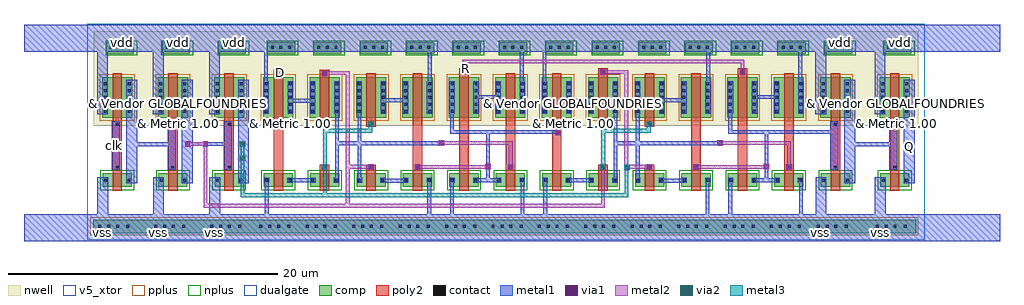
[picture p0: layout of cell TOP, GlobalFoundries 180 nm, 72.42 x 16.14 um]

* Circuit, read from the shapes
.subckt TOP D Q R clk vdd vss
XM1 n1 clk vss vss nfet_05v0 w=1u l=0.7u
XM2 n2 n1 vss vss nfet_05v0 w=1u l=0.7u
XM3 n3 n2 vss vss nfet_05v0 w=1u l=0.7u
XM4 n4 D vss vss nfet_05v0 w=1u l=0.7u
XM5 n5 n3 n4 vss nfet_05v0 w=1u l=0.7u
XM6 n6 n2 n5 vss nfet_05v0 w=1u l=0.7u
XM7 vss n7 n6 vss nfet_05v0 w=1u l=0.7u
XM8 n7 R vss vss nfet_05v0 w=1u l=0.7u
XM9 vss n5 n7 vss nfet_05v0 w=1u l=0.7u
XM10 n8 n7 vss vss nfet_05v0 w=1u l=0.7u
XM11 n9 n2 n8 vss nfet_05v0 w=1u l=0.7u
XM12 n10 n3 n9 vss nfet_05v0 w=1u l=0.7u
XM13 vss n11 n10 vss nfet_05v0 w=1u l=0.7u
XM14 n11 R vss vss nfet_05v0 w=1u l=0.7u
XM15 vss n9 n11 vss nfet_05v0 w=1u l=0.7u
XM16 n12 n11 vss vss nfet_05v0 w=1u l=0.7u
XM17 Q n12 vss vss nfet_05v0 w=1u l=0.7u
XM18 n1 clk vdd vdd pfet_05v0 w=3u l=0.7u
XM19 n2 n1 vdd vdd pfet_05v0 w=3u l=0.7u
XM20 n3 n2 vdd vdd pfet_05v0 w=3u l=0.7u
XM21 n13 D vdd vdd pfet_05v0 w=3u l=0.7u
XM22 n5 n2 n13 vdd pfet_05v0 w=3u l=0.7u
XM23 n14 n3 n5 vdd pfet_05v0 w=3u l=0.7u
XM24 vdd n7 n14 vdd pfet_05v0 w=3u l=0.7u
XM25 n15 R n7 vdd pfet_05v0 w=3u l=0.7u
XM26 vdd n5 n15 vdd pfet_05v0 w=3u l=0.7u
XM27 n16 n7 vdd vdd pfet_05v0 w=3u l=0.7u
XM28 n9 n3 n16 vdd pfet_05v0 w=3u l=0.7u
XM29 n17 n2 n9 vdd pfet_05v0 w=3u l=0.7u
XM30 vdd n11 n17 vdd pfet_05v0 w=3u l=0.7u
XM31 n18 R n11 vdd pfet_05v0 w=3u l=0.7u
XM32 vdd n9 n18 vdd pfet_05v0 w=3u l=0.7u
XM33 n12 n11 vdd vdd pfet_05v0 w=3u l=0.7u
XM34 Q n12 vdd vdd pfet_05v0 w=3u l=0.7u
.ends

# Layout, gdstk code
import gdstk
lib = gdstk.Library(unit=1e-6, precision=1e-08)
def R(c, l, rs):  # rectangles x0, y0, x1, y1
    for r in rs: c.add(gdstk.rectangle(r[:2], r[2:], *l))
def A(c, l, x, y, w, h, nx, ny, dx, dy):  # array of equal rectangles
    R(c, l, [(x+i*dx, y+j*dy, x+i*dx+w, y+j*dy+h) for i in range(nx) for j in range(ny)])
nwell = (21, 0)
comp = (22, 0)
poly2 = (30, 0)
pplus = (31, 0)
nplus = (32, 0)
contact = (33, 0)
metal1 = (34, 0)
via1 = (35, 0)
metal2 = (36, 0)
via2 = (38, 0)
metal3 = (42, 0)
dualgate = (55, 0)
v5_xtor = (112, 1)

top = lib.new_cell('TOP')
A(top, nwell, 23.86, -4.33, 3.46, 7.03, 4, 1, 3.44, 0)
R(top, nwell, [(-1.87,-4.33,9.89,2.7), (-1.87,-4.33,1.59,2.7), (-1.87,-4.33,59.28,2.7), (2.26,-4.33,5.72,2.7), (6.43,-4.33,9.89,2.7), (10.08,-4.33,13.54,2.7), (13.52,-4.33,16.98,2.7), (16.97,-4.33,20.43,2.7), (20.41,-4.33,23.87,2.7), (37.63,-4.33,41.09,2.7), (41.07,-4.33,44.53,2.7), (44.52,-4.33,47.98,2.7), (47.96,-4.33,51.42,2.7), (51.42,-4.33,54.88,2.7), (55.82,-4.33,59.28,2.7)])
A(top, comp, 23.8, -12.28, 3.4, 1, 4, 1, 3.44, 0)
A(top, comp, 24.93, -8.86, 1.32, 1, 4, 1, 3.44, 0)
A(top, comp, 24.93, -3.72, 1.32, 3, 4, 1, 3.44, 0)
A(top, comp, 24.78, 1.03, 2.05, 0.84, 4, 1, 3.44, 0)
R(top, comp, [(-1.93,-12.28,1.47,-11.28), (-1.93,-12.28,59.16,-11.28), (2.2,-12.28,5.6,-11.28), (6.37,-12.28,9.77,-11.28), (10.02,-12.28,13.42,-11.28), (13.46,-12.28,16.86,-11.28), (16.91,-12.28,20.31,-11.28), (20.35,-12.28,23.75,-11.28), (37.57,-12.28,40.97,-11.28), (41.01,-12.28,44.41,-11.28), (44.46,-12.28,47.86,-11.28), (47.9,-12.28,51.3,-11.28), (51.36,-12.28,54.76,-11.28), (55.76,-12.28,59.16,-11.28), (-1.22,-8.86,-0.8,-7.86), (-0.8,-8.86,0.52,-7.86), (0.52,-8.86,0.94,-7.86), (2.91,-8.86,3.33,-7.86), (3.33,-8.86,4.65,-7.86), (4.65,-8.86,5.07,-7.86), (7.08,-8.86,7.5,-7.86), (7.5,-8.86,8.82,-7.86), (8.82,-8.86,9.24,-7.86), (10.73,-8.86,11.15,-7.86), (11.15,-8.86,12.47,-7.86), (12.47,-8.86,12.89,-7.86), (14.17,-8.86,14.59,-7.86), (14.59,-8.86,15.91,-7.86), (15.91,-8.86,16.33,-7.86), (17.62,-8.86,18.04,-7.86), (18.04,-8.86,19.36,-7.86), (19.36,-8.86,19.78,-7.86), (21.06,-8.86,21.48,-7.86), (21.48,-8.86,22.8,-7.86), (22.8,-8.86,23.22,-7.86), (24.51,-8.86,24.93,-7.86), (26.25,-8.86,26.67,-7.86), (27.95,-8.86,28.37,-7.86), (29.69,-8.86,30.11,-7.86), (31.39,-8.86,31.81,-7.86), (33.13,-8.86,33.55,-7.86), (34.83,-8.86,35.25,-7.86), (36.57,-8.86,36.99,-7.86), (38.28,-8.86,38.7,-7.86), (38.7,-8.86,40.02,-7.86), (40.02,-8.86,40.44,-7.86), (41.72,-8.86,42.14,-7.86), (42.14,-8.86,43.46,-7.86), (43.46,-8.86,43.88,-7.86), (45.17,-8.86,45.59,-7.86), (45.59,-8.86,46.91,-7.86), (46.91,-8.86,47.33,-7.86), (48.61,-8.86,49.03,-7.86), (49.03,-8.86,50.35,-7.86), (50.35,-8.86,50.77,-7.86), (52.07,-8.86,52.49,-7.86), (52.49,-8.86,53.81,-7.86), (53.81,-8.86,54.23,-7.86), (56.47,-8.86,56.89,-7.86), (56.89,-8.86,58.21,-7.86), (58.21,-8.86,58.63,-7.86), (-1.26,-3.72,-0.8,-0.72), (-0.8,-3.72,0.52,-0.72), (0.52,-3.72,0.98,-0.72), (2.87,-3.72,3.33,-0.72), (3.33,-3.72,4.65,-0.72), (4.65,-3.72,5.11,-0.72), (7.04,-3.72,7.5,-0.72), (7.5,-3.72,8.82,-0.72), (8.82,-3.72,9.28,-0.72), (10.69,-3.72,11.15,-0.72), (11.15,-3.72,12.47,-0.72), (12.47,-3.72,12.93,-0.72), (14.13,-3.72,14.59,-0.72), (14.59,-3.72,15.91,-0.72), (15.91,-3.72,16.37,-0.72), (17.58,-3.72,18.04,-0.72), (18.04,-3.72,19.36,-0.72), (19.36,-3.72,19.82,-0.72), (21.02,-3.72,21.48,-0.72), (21.48,-3.72,22.8,-0.72), (22.8,-3.72,23.26,-0.72), (24.47,-3.72,24.93,-0.72), (26.25,-3.72,26.71,-0.72), (27.91,-3.72,28.37,-0.72), (29.69,-3.72,30.15,-0.72), (31.35,-3.72,31.81,-0.72), (33.13,-3.72,33.59,-0.72), (34.79,-3.72,35.25,-0.72), (36.57,-3.72,37.03,-0.72), (38.24,-3.72,38.7,-0.72), (38.7,-3.72,40.02,-0.72), (40.02,-3.72,40.48,-0.72), (41.68,-3.72,42.14,-0.72), (42.14,-3.72,43.46,-0.72), (43.46,-3.72,43.92,-0.72), (45.13,-3.72,45.59,-0.72), (45.59,-3.72,46.91,-0.72), (46.91,-3.72,47.37,-0.72), (48.57,-3.72,49.03,-0.72), (49.03,-3.72,50.35,-0.72), (50.35,-3.72,50.81,-0.72), (52.03,-3.72,52.49,-0.72), (52.49,-3.72,53.81,-0.72), (53.81,-3.72,54.27,-0.72), (56.43,-3.72,56.89,-0.72), (56.89,-3.72,58.21,-0.72), (58.21,-3.72,58.67,-0.72), (-0.95,1.03,1.1,1.87), (3.18,1.03,5.23,1.87), (7.35,1.03,9.4,1.87), (11,1.03,13.05,1.87), (14.44,1.03,16.49,1.87), (17.89,1.03,19.94,1.87), (21.33,1.03,23.38,1.87), (38.55,1.03,40.6,1.87), (41.99,1.03,44.04,1.87), (45.44,1.03,47.49,1.87), (48.88,1.03,50.93,1.87), (52.34,1.03,54.39,1.87), (56.74,1.03,58.79,1.87)])
A(top, poly2, 25.24, -9.16, 0.7, 1.6, 4, 1, 3.44, 0)
R(top, poly2, [(-0.49,-9.16,0.21,-7.56), (3.64,-9.16,4.34,-7.56), (7.81,-9.16,8.51,-7.56), (11.46,-9.16,12.16,-7.56), (14.9,-9.16,15.6,-7.56), (18.35,-9.16,19.05,-7.56), (21.79,-9.16,22.49,-7.56), (39.01,-9.16,39.71,-7.56), (42.45,-9.16,43.15,-7.56), (45.9,-9.16,46.6,-7.56), (49.34,-9.16,50.04,-7.56), (52.8,-9.16,53.5,-7.56), (57.2,-9.16,57.9,-7.56), (11.46,-8.04,12.16,-4.02), (32.12,-8.04,32.82,-4.02), (28.68,-7.8,29.38,-4.02), (49.34,-7.8,50.04,-4.02), (-0.49,-7.56,0.21,-7.2), (3.64,-7.56,4.34,-7.2), (7.81,-7.56,8.51,-7.2), (14.9,-7.56,15.6,-7.2), (18.35,-7.56,19.05,-7.2), (21.79,-7.56,22.49,-7.2), (25.24,-7.56,25.94,-7.2), (28.68,-7.56,29.38,-7.2), (35.56,-7.56,36.26,-7.2), (39.01,-7.56,39.71,-7.2), (42.45,-7.56,43.15,-7.2), (45.9,-7.56,46.6,-7.2), (49.34,-7.56,50.04,-7.2), (52.8,-7.56,53.5,-7.2), (57.2,-7.56,57.9,-7.2), (25.24,-7.48,25.94,-4.02), (45.9,-7.48,46.6,-4.02), (21.79,-7.47,22.49,-4.02), (42.45,-7.47,43.15,-4.02), (-0.49,-7.46,0.21,-3.67), (3.64,-7.46,4.34,-3.67), (7.81,-7.46,8.51,-3.67), (52.8,-7.46,53.5,-3.67), (57.2,-7.46,57.9,-3.67), (-0.49,-4.4,0.21,-4.02), (3.64,-4.4,4.34,-4.02), (7.81,-4.4,8.51,-4.02), (18.35,-4.4,19.05,-4.02), (39.01,-4.4,39.71,-4.02), (52.8,-4.4,53.5,-4.02), (57.2,-4.4,57.9,-4.02), (-0.49,-4.02,0.21,-0.42), (3.64,-4.02,4.34,-0.42), (7.81,-4.02,8.51,-0.42), (11.46,-4.02,12.16,-0.16), (14.9,-4.02,15.6,-0.18), (18.35,-4.02,19.05,-0.42), (21.79,-4.02,22.49,-0.42), (25.24,-4.02,25.94,-0.06), (28.68,-4.02,29.38,-0.42), (32.12,-4.02,32.82,-0.42), (35.56,-4.02,36.26,-0.06), (39.01,-4.02,39.71,-0.42), (42.45,-4.02,43.15,-0.42), (45.9,-4.02,46.6,-0.05), (49.34,-4.02,50.04,-0.42), (52.8,-4.02,53.5,-0.42), (57.2,-4.02,57.9,-0.42)])
A(top, pplus, 23.58, -12.45, 3.77, 1.34, 4, 1, 3.44, 0)
A(top, pplus, 24.3, -3.96, 2.58, 3.48, 4, 1, 3.44, 0)
R(top, pplus, [(-2.15,-12.45,1.62,-11.11), (-2.15,-12.45,59.31,-11.11), (0.28,-12.45,9.13,-11.11), (1.98,-12.45,5.75,-11.11), (6.15,-12.45,9.92,-11.11), (9.8,-12.45,13.57,-11.11), (13.24,-12.45,17.01,-11.11), (16.69,-12.45,20.46,-11.11), (20.13,-12.45,23.9,-11.11), (37.35,-12.45,41.12,-11.11), (40.79,-12.45,44.56,-11.11), (44.24,-12.45,48.01,-11.11), (47.68,-12.45,51.45,-11.11), (51.14,-12.45,54.91,-11.11), (55.54,-12.45,59.31,-11.11), (-1.43,-3.96,1.15,-0.48), (2.7,-3.96,5.28,-0.48), (6.87,-3.96,9.45,-0.48), (10.52,-3.96,13.1,-0.48), (13.96,-3.96,16.54,-0.48), (17.41,-3.96,19.99,-0.48), (20.85,-3.96,23.43,-0.48), (38.07,-3.96,40.65,-0.48), (41.51,-3.96,44.09,-0.48), (44.96,-3.96,47.54,-0.48), (48.4,-3.96,50.98,-0.48), (51.86,-3.96,54.44,-0.48), (56.26,-3.96,58.84,-0.48)])
A(top, nplus, 24.34, -9.1, 2.5, 1.48, 4, 1, 3.44, 0)
A(top, nplus, 24.73, 0.92, 2.35, 1.06, 4, 1, 3.44, 0)
R(top, nplus, [(-1.39,-9.1,1.11,-7.62), (2.74,-9.1,5.24,-7.62), (6.91,-9.1,9.41,-7.62), (10.56,-9.1,13.06,-7.62), (14,-9.1,16.5,-7.62), (17.45,-9.1,19.95,-7.62), (20.89,-9.1,23.39,-7.62), (38.11,-9.1,40.61,-7.62), (41.55,-9.1,44.05,-7.62), (45,-9.1,47.5,-7.62), (48.44,-9.1,50.94,-7.62), (51.9,-9.1,54.4,-7.62), (56.3,-9.1,58.8,-7.62), (-1,0.92,1.35,1.98), (3.13,0.92,5.48,1.98), (7.3,0.92,9.65,1.98), (10.95,0.92,13.3,1.98), (14.39,0.92,16.74,1.98), (17.84,0.92,20.19,1.98), (21.28,0.92,23.63,1.98), (38.5,0.92,40.85,1.98), (41.94,0.92,44.29,1.98), (45.39,0.92,47.74,1.98), (48.83,0.92,51.18,1.98), (52.29,0.92,54.64,1.98), (56.69,0.92,59.04,1.98)])
A(top, contact, -1.14, -3.35, 0.22, 0.22, 1, 5, 0, 0.51)
A(top, contact, 0.64, -3.35, 0.22, 0.22, 1, 5, 0, 0.51)
A(top, contact, 2.99, -3.35, 0.22, 0.22, 1, 5, 0, 0.51)
A(top, contact, 4.77, -3.35, 0.22, 0.22, 1, 5, 0, 0.51)
A(top, contact, 7.16, -3.35, 0.22, 0.22, 1, 5, 0, 0.51)
A(top, contact, 8.94, -3.35, 0.22, 0.22, 1, 5, 0, 0.51)
A(top, contact, 10.81, -3.35, 0.22, 0.22, 1, 5, 0, 0.51)
A(top, contact, 12.59, -3.35, 0.22, 0.22, 1, 5, 0, 0.51)
A(top, contact, 14.25, -3.35, 0.22, 0.22, 1, 5, 0, 0.51)
A(top, contact, 16.03, -3.35, 0.22, 0.22, 1, 5, 0, 0.51)
A(top, contact, 17.7, -3.35, 0.22, 0.22, 1, 5, 0, 0.51)
A(top, contact, 19.48, -3.35, 0.22, 0.22, 1, 5, 0, 0.51)
A(top, contact, 21.14, -3.35, 0.22, 0.22, 1, 5, 0, 0.51)
A(top, contact, 22.92, -3.35, 0.22, 0.22, 1, 5, 0, 0.51)
A(top, contact, 24.59, -3.35, 0.22, 0.22, 1, 5, 0, 0.51)
A(top, contact, 26.37, -3.35, 0.22, 0.22, 1, 5, 0, 0.51)
A(top, contact, 28.03, -3.35, 0.22, 0.22, 1, 5, 0, 0.51)
A(top, contact, 29.81, -3.35, 0.22, 0.22, 1, 5, 0, 0.51)
A(top, contact, 31.47, -3.35, 0.22, 0.22, 1, 5, 0, 0.51)
A(top, contact, 33.25, -3.35, 0.22, 0.22, 1, 5, 0, 0.51)
A(top, contact, 34.91, -3.35, 0.22, 0.22, 1, 5, 0, 0.51)
A(top, contact, 36.69, -3.35, 0.22, 0.22, 1, 5, 0, 0.51)
A(top, contact, 38.36, -3.35, 0.22, 0.22, 1, 5, 0, 0.51)
A(top, contact, 40.14, -3.35, 0.22, 0.22, 1, 5, 0, 0.51)
A(top, contact, 41.8, -3.35, 0.22, 0.22, 1, 5, 0, 0.51)
A(top, contact, 43.58, -3.35, 0.22, 0.22, 1, 5, 0, 0.51)
A(top, contact, 45.25, -3.35, 0.22, 0.22, 1, 5, 0, 0.51)
A(top, contact, 47.03, -3.35, 0.22, 0.22, 1, 5, 0, 0.51)
A(top, contact, 48.69, -3.35, 0.22, 0.22, 1, 5, 0, 0.51)
A(top, contact, 50.47, -3.35, 0.22, 0.22, 1, 5, 0, 0.51)
A(top, contact, 52.15, -3.35, 0.22, 0.22, 1, 5, 0, 0.51)
A(top, contact, 53.93, -3.35, 0.22, 0.22, 1, 5, 0, 0.51)
A(top, contact, 56.55, -3.35, 0.22, 0.22, 1, 5, 0, 0.51)
A(top, contact, 58.33, -3.35, 0.22, 0.22, 1, 5, 0, 0.51)
R(top, contact, [(-1.54,-11.89,-1.32,-11.67), (-0.87,-11.89,-0.65,-11.67), (-0.87,-11.89,-0.65,-11.67), (-0.23,-11.89,-0.01,-11.67), (0.54,-11.89,0.76,-11.67), (2.59,-11.89,2.81,-11.67), (3.26,-11.89,3.48,-11.67), (3.26,-11.89,3.48,-11.67), (3.9,-11.89,4.12,-11.67), (4.67,-11.89,4.89,-11.67), (6.76,-11.89,6.98,-11.67), (7.43,-11.89,7.65,-11.67), (7.43,-11.89,7.65,-11.67), (8.07,-11.89,8.29,-11.67), (8.84,-11.89,9.06,-11.67), (10.41,-11.89,10.63,-11.67), (11.08,-11.89,11.3,-11.67), (11.08,-11.89,11.3,-11.67), (11.72,-11.89,11.94,-11.67), (12.49,-11.89,12.71,-11.67), (13.85,-11.89,14.07,-11.67), (14.52,-11.89,14.74,-11.67), (14.52,-11.89,14.74,-11.67), (15.16,-11.89,15.38,-11.67), (15.93,-11.89,16.15,-11.67), (17.3,-11.89,17.52,-11.67), (17.97,-11.89,18.19,-11.67), (17.97,-11.89,18.19,-11.67), (18.61,-11.89,18.83,-11.67), (19.38,-11.89,19.6,-11.67), (20.74,-11.89,20.96,-11.67), (21.41,-11.89,21.63,-11.67), (21.41,-11.89,21.63,-11.67), (22.05,-11.89,22.27,-11.67), (22.82,-11.89,23.04,-11.67), (24.19,-11.89,24.41,-11.67), (24.86,-11.89,25.08,-11.67), (24.86,-11.89,25.08,-11.67), (25.5,-11.89,25.72,-11.67), (26.27,-11.89,26.49,-11.67), (27.63,-11.89,27.85,-11.67), (28.3,-11.89,28.52,-11.67), (28.3,-11.89,28.52,-11.67), (28.94,-11.89,29.16,-11.67), (29.71,-11.89,29.93,-11.67), (31.07,-11.89,31.29,-11.67), (31.74,-11.89,31.96,-11.67), (31.74,-11.89,31.96,-11.67), (32.38,-11.89,32.6,-11.67), (33.15,-11.89,33.37,-11.67), (34.51,-11.89,34.73,-11.67), (35.18,-11.89,35.4,-11.67), (35.18,-11.89,35.4,-11.67), (35.82,-11.89,36.04,-11.67), (36.59,-11.89,36.81,-11.67), (37.96,-11.89,38.18,-11.67), (38.63,-11.89,38.85,-11.67), (38.63,-11.89,38.85,-11.67), (39.27,-11.89,39.49,-11.67), (40.04,-11.89,40.26,-11.67), (41.4,-11.89,41.62,-11.67), (42.07,-11.89,42.29,-11.67), (42.07,-11.89,42.29,-11.67), (42.71,-11.89,42.93,-11.67), (43.48,-11.89,43.7,-11.67), (44.85,-11.89,45.07,-11.67), (45.52,-11.89,45.74,-11.67), (45.52,-11.89,45.74,-11.67), (46.16,-11.89,46.38,-11.67), (46.93,-11.89,47.15,-11.67), (48.29,-11.89,48.51,-11.67), (48.96,-11.89,49.18,-11.67), (48.96,-11.89,49.18,-11.67), (49.6,-11.89,49.82,-11.67), (50.37,-11.89,50.59,-11.67), (51.75,-11.89,51.97,-11.67), (52.42,-11.89,52.64,-11.67), (52.42,-11.89,52.64,-11.67), (53.06,-11.89,53.28,-11.67), (53.83,-11.89,54.05,-11.67), (56.15,-11.89,56.37,-11.67), (56.82,-11.89,57.04,-11.67), (56.82,-11.89,57.04,-11.67), (57.46,-11.89,57.68,-11.67), (58.23,-11.89,58.45,-11.67), (-1.12,-8.47,-0.9,-8.25), (0.62,-8.47,0.84,-8.25), (3.01,-8.47,3.23,-8.25), (4.75,-8.47,4.97,-8.25), (7.18,-8.47,7.4,-8.25), (8.92,-8.47,9.14,-8.25), (10.83,-8.47,11.05,-8.25), (12.57,-8.47,12.79,-8.25), (14.27,-8.47,14.49,-8.25), (16.01,-8.47,16.23,-8.25), (17.72,-8.47,17.94,-8.25), (19.46,-8.47,19.68,-8.25), (21.16,-8.47,21.38,-8.25), (22.9,-8.47,23.12,-8.25), (24.61,-8.47,24.83,-8.25), (26.35,-8.47,26.57,-8.25), (28.05,-8.47,28.27,-8.25), (29.79,-8.47,30.01,-8.25), (31.49,-8.47,31.71,-8.25), (33.23,-8.47,33.45,-8.25), (34.93,-8.47,35.15,-8.25), (36.67,-8.47,36.89,-8.25), (38.38,-8.47,38.6,-8.25), (40.12,-8.47,40.34,-8.25), (41.82,-8.47,42.04,-8.25), (43.56,-8.47,43.78,-8.25), (45.27,-8.47,45.49,-8.25), (47.01,-8.47,47.23,-8.25), (48.71,-8.47,48.93,-8.25), (50.45,-8.47,50.67,-8.25), (52.17,-8.47,52.39,-8.25), (53.91,-8.47,54.13,-8.25), (56.57,-8.47,56.79,-8.25), (58.31,-8.47,58.53,-8.25), (-0.25,-7.49,-0.03,-7.27), (3.88,-7.49,4.1,-7.27), (8.05,-7.49,8.27,-7.27), (15.14,-7.49,15.36,-7.27), (18.59,-7.49,18.81,-7.27), (22.03,-7.49,22.25,-7.27), (28.92,-7.49,29.14,-7.27), (35.8,-7.49,36.02,-7.27), (39.25,-7.49,39.47,-7.27), (42.69,-7.49,42.91,-7.27), (49.58,-7.49,49.8,-7.27), (53.04,-7.49,53.26,-7.27), (57.44,-7.49,57.66,-7.27), (32.45,-4.93,32.67,-4.71), (-0.25,-4.32,-0.03,-4.1), (3.88,-4.32,4.1,-4.1), (8.05,-4.32,8.27,-4.1), (18.59,-4.32,18.81,-4.1), (39.25,-4.32,39.47,-4.1), (53.04,-4.32,53.26,-4.1), (57.44,-4.32,57.66,-4.1), (15.14,-0.54,15.36,-0.32), (11.7,-0.48,11.92,-0.26), (46.14,-0.44,46.36,-0.22), (35.8,-0.43,36.02,-0.21), (25.48,-0.42,25.7,-0.2), (-0.68,1.38,-0.46,1.6), (-0.06,1.38,0.16,1.6), (0.59,1.38,0.81,1.6), (3.45,1.38,3.67,1.6), (4.07,1.38,4.29,1.6), (4.72,1.38,4.94,1.6), (7.62,1.38,7.84,1.6), (8.24,1.38,8.46,1.6), (8.89,1.38,9.11,1.6), (11.27,1.38,11.49,1.6), (11.89,1.38,12.11,1.6), (12.54,1.38,12.76,1.6), (14.71,1.38,14.93,1.6), (15.33,1.38,15.55,1.6), (15.98,1.38,16.2,1.6), (18.16,1.38,18.38,1.6), (18.78,1.38,19,1.6), (19.43,1.38,19.65,1.6), (21.6,1.38,21.82,1.6), (22.22,1.38,22.44,1.6), (22.87,1.38,23.09,1.6), (25.05,1.38,25.27,1.6), (25.67,1.38,25.89,1.6), (26.32,1.38,26.54,1.6), (28.49,1.38,28.71,1.6), (29.11,1.38,29.33,1.6), (29.76,1.38,29.98,1.6), (31.93,1.38,32.15,1.6), (32.55,1.38,32.77,1.6), (33.2,1.38,33.42,1.6), (35.37,1.38,35.59,1.6), (35.99,1.38,36.21,1.6), (36.64,1.38,36.86,1.6), (38.82,1.38,39.04,1.6), (39.44,1.38,39.66,1.6), (40.09,1.38,40.31,1.6), (42.26,1.38,42.48,1.6), (42.88,1.38,43.1,1.6), (43.53,1.38,43.75,1.6), (45.71,1.38,45.93,1.6), (46.33,1.38,46.55,1.6), (46.98,1.38,47.2,1.6), (49.15,1.38,49.37,1.6), (49.77,1.38,49.99,1.6), (50.42,1.38,50.64,1.6), (52.61,1.38,52.83,1.6), (53.23,1.38,53.45,1.6), (53.88,1.38,54.1,1.6), (57.01,1.38,57.23,1.6), (57.63,1.38,57.85,1.6), (58.28,1.38,58.5,1.6)])
A(top, metal1, 24.11, -11.97, 0.38, 0.38, 4, 1, 3.44, 0)
R(top, metal1, [(-1.62,-11.97,-1.24,-11.59), (2.51,-11.97,2.89,-11.59), (6.68,-11.97,7.06,-11.59), (10.33,-11.97,10.71,-11.59), (13.77,-11.97,14.15,-11.59), (17.22,-11.97,17.6,-11.59), (20.66,-11.97,21.04,-11.59), (37.88,-11.97,38.26,-11.59), (41.32,-11.97,41.7,-11.59), (44.77,-11.97,45.15,-11.59), (48.21,-11.97,48.59,-11.59), (51.67,-11.97,52.05,-11.59), (56.07,-11.97,56.45,-11.59), (-1.2,-8.55,-0.82,-8.17), (0.54,-8.55,0.92,-8.17), (2.93,-8.55,3.31,-8.17), (4.67,-8.55,5.05,-8.17), (7.1,-8.55,7.48,-8.17), (8.84,-8.55,9.22,-8.17), (10.75,-8.55,11.13,-8.17), (12.49,-8.55,12.87,-8.17), (14.19,-8.55,14.57,-8.17), (15.93,-8.55,16.31,-8.17), (17.64,-8.55,18.02,-8.17), (19.38,-8.55,19.76,-8.17), (21.08,-8.55,21.46,-8.17), (22.82,-8.55,23.2,-8.17), (24.53,-8.55,24.91,-8.17), (26.27,-8.55,26.65,-8.17), (27.97,-8.55,28.35,-8.17), (29.71,-8.55,30.09,-8.17), (31.41,-8.55,31.79,-8.17), (33.15,-8.55,33.53,-8.17), (34.85,-8.55,35.23,-8.17), (36.59,-8.55,36.97,-8.17), (38.3,-8.55,38.68,-8.17), (40.04,-8.55,40.42,-8.17), (41.74,-8.55,42.12,-8.17), (43.48,-8.55,43.86,-8.17), (45.19,-8.55,45.57,-8.17), (46.93,-8.55,47.31,-8.17), (48.63,-8.55,49.01,-8.17), (50.37,-8.55,50.75,-8.17), (52.09,-8.55,52.47,-8.17), (53.83,-8.55,54.21,-8.17), (56.49,-8.55,56.87,-8.17), (58.23,-8.55,58.61,-8.17), (15.05,-7.58,15.45,-7.18), (18.5,-7.58,18.9,-7.18), (21.94,-7.58,22.34,-7.18), (28.83,-7.58,29.23,-7.18), (35.71,-7.58,36.11,-7.18), (39.16,-7.58,39.56,-7.18), (42.6,-7.58,43,-7.18), (49.49,-7.58,49.89,-7.18), (-0.33,-7.57,0.05,-7.19), (3.8,-7.57,4.18,-7.19), (7.97,-7.57,8.35,-7.19), (15.06,-7.57,15.44,-7.19), (18.51,-7.57,18.89,-7.19), (21.95,-7.57,22.33,-7.19), (28.84,-7.57,29.22,-7.19), (35.72,-7.57,36.1,-7.19), (39.17,-7.57,39.55,-7.19), (42.61,-7.57,42.99,-7.19), (49.5,-7.57,49.88,-7.19), (52.96,-7.57,53.34,-7.19), (57.36,-7.57,57.74,-7.19), (27.17,-7.53,27.57,-7.13), (47.83,-7.53,48.23,-7.13), (8.96,-6.93,9.36,-6.53), (4.91,-5.86,5.31,-5.46), (6.19,-5.86,6.59,-5.46), (8.96,-5.86,9.36,-5.46), (23.71,-5.8,24.11,-5.4), (44.37,-5.8,44.77,-5.4), (32.36,-5.02,32.76,-4.62), (32.37,-5.01,32.75,-4.63), (18.5,-4.41,18.9,-4.01), (39.16,-4.41,39.56,-4.01), (-0.33,-4.4,0.05,-4.02), (3.8,-4.4,4.18,-4.02), (7.97,-4.4,8.35,-4.02), (18.51,-4.4,18.89,-4.02), (39.17,-4.4,39.55,-4.02), (52.96,-4.4,53.34,-4.02), (57.36,-4.4,57.74,-4.02), (-1.22,-3.43,-0.84,-1.01), (0.56,-3.43,0.94,-1.01), (2.91,-3.43,3.29,-1.01), (4.69,-3.43,5.07,-1.01), (7.08,-3.43,7.46,-1.01), (8.86,-3.43,9.24,-1.01), (10.73,-3.43,11.11,-1.01), (12.51,-3.43,12.89,-1.01), (14.17,-3.43,14.55,-1.01), (15.95,-3.43,16.33,-1.01), (17.62,-3.43,18,-1.01), (19.4,-3.43,19.78,-1.01), (21.06,-3.43,21.44,-1.01), (22.84,-3.43,23.22,-1.01), (24.51,-3.43,24.89,-1.01), (26.29,-3.43,26.67,-1.01), (27.95,-3.43,28.33,-1.01), (29.73,-3.43,30.11,-1.01), (31.39,-3.43,31.77,-1.01), (33.17,-3.43,33.55,-1.01), (34.83,-3.43,35.21,-1.01), (36.61,-3.43,36.99,-1.01), (38.28,-3.43,38.66,-1.01), (40.06,-3.43,40.44,-1.01), (41.72,-3.43,42.1,-1.01), (43.5,-3.43,43.88,-1.01), (45.17,-3.43,45.55,-1.01), (46.95,-3.43,47.33,-1.01), (48.61,-3.43,48.99,-1.01), (50.39,-3.43,50.77,-1.01), (52.07,-3.43,52.45,-1.01), (53.85,-3.43,54.23,-1.01), (56.47,-3.43,56.85,-1.01), (58.25,-3.43,58.63,-1.01), (15.05,-0.63,15.45,-0.23), (15.06,-0.62,15.44,-0.24), (11.61,-0.57,12.01,-0.17), (11.62,-0.56,12,-0.18), (46.05,-0.53,46.45,-0.13), (35.71,-0.52,36.11,-0.12), (46.06,-0.52,46.44,-0.14), (25.39,-0.51,25.79,-0.11), (35.72,-0.51,36.1,-0.13), (25.4,-0.5,25.78,-0.12)])
R(top, via1, [(15.12,-7.51,15.38,-7.25), (18.57,-7.51,18.83,-7.25), (22.01,-7.51,22.27,-7.25), (28.9,-7.51,29.16,-7.25), (35.78,-7.51,36.04,-7.25), (39.23,-7.51,39.49,-7.25), (42.67,-7.51,42.93,-7.25), (49.56,-7.51,49.82,-7.25), (27.24,-7.46,27.5,-7.2), (47.9,-7.46,48.16,-7.2), (9.03,-6.86,9.29,-6.6), (4.98,-5.79,5.24,-5.53), (6.26,-5.79,6.52,-5.53), (9.03,-5.79,9.29,-5.53), (23.78,-5.73,24.04,-5.47), (44.44,-5.73,44.7,-5.47), (32.43,-4.95,32.69,-4.69), (18.57,-4.34,18.83,-4.08), (39.23,-4.34,39.49,-4.08), (15.12,-0.56,15.38,-0.3), (11.68,-0.5,11.94,-0.24), (46.12,-0.46,46.38,-0.2), (35.78,-0.45,36.04,-0.19), (25.46,-0.44,25.72,-0.18)])
R(top, metal2, [(37.48,-7.63,37.88,-7.23), (15.05,-7.58,15.45,-7.18), (18.5,-7.58,18.9,-7.18), (21.94,-7.58,22.34,-7.18), (28.83,-7.58,29.23,-7.18), (35.71,-7.58,36.11,-7.18), (39.16,-7.58,39.56,-7.18), (42.6,-7.58,43,-7.18), (49.49,-7.58,49.89,-7.18), (27.17,-7.53,27.57,-7.13), (47.83,-7.53,48.23,-7.13), (8.96,-6.93,9.36,-6.53), (4.91,-5.86,5.31,-5.46), (6.19,-5.86,6.59,-5.46), (8.96,-5.86,9.36,-5.46), (23.71,-5.8,24.11,-5.4), (44.37,-5.8,44.77,-5.4), (32.36,-5.02,32.76,-4.62), (18.5,-4.41,18.9,-4.01), (39.16,-4.41,39.56,-4.01), (15.05,-0.63,15.45,-0.23), (11.61,-0.57,12.01,-0.17), (46.05,-0.53,46.45,-0.13), (35.71,-0.52,36.11,-0.12), (25.39,-0.51,25.79,-0.11)])
R(top, via2, [(37.55,-7.56,37.81,-7.3), (15.12,-7.51,15.38,-7.25), (35.78,-7.51,36.04,-7.25), (9.03,-6.86,9.29,-6.6), (9.03,-5.79,9.29,-5.53), (18.57,-4.34,18.83,-4.08), (39.23,-4.34,39.49,-4.08)])
R(top, metal3, [(37.48,-7.63,37.88,-7.23), (15.05,-7.58,15.45,-7.18), (35.71,-7.58,36.11,-7.18), (8.96,-6.93,9.36,-6.53), (8.96,-5.86,9.36,-5.46), (18.5,-4.41,18.9,-4.01), (39.16,-4.41,39.56,-4.01)])
R(top, dualgate, [(-2.37,-12.76,2.09,3.25), (1.76,-12.76,6.22,3.25), (5.93,-12.76,59.58,3.25), (50.92,-12.76,55.38,3.25), (55.32,-12.76,59.78,3.25), (-1.64,-9.57,1.36,-6.78), (2.49,-9.57,5.49,-6.78), (6.66,-9.57,9.66,-6.78), (51.65,-9.57,54.65,-6.78), (56.05,-9.57,59.05,-6.78), (-1.68,-4.81,1.4,-0.01), (2.45,-4.81,5.53,-0.01), (6.62,-4.81,9.7,-0.01), (51.61,-4.81,54.69,-0.01), (56.01,-4.81,59.09,-0.01)])
R(top, v5_xtor, [(-2.37,-12.77,2.09,3.25), (1.76,-12.77,6.22,3.25), (5.93,-12.77,58.05,3.25), (50.92,-12.77,55.38,3.25), (55.32,-12.77,59.78,3.25), (-1.64,-9.57,1.36,-6.78), (2.49,-9.57,5.49,-6.78), (6.66,-9.57,9.66,-6.78), (51.65,-9.57,54.65,-6.78), (56.05,-9.57,59.05,-6.78), (-1.68,-4.81,1.4,-0.01), (2.45,-4.81,5.53,-0.01), (6.62,-4.81,9.7,-0.01), (51.61,-4.81,54.69,-0.01), (56.01,-4.81,59.09,-0.01)])
top.add(gdstk.FlexPath([(4.89,2.16),(52.31,2.16)], 2, ends="flush", simple_path=True, layer=34, datatype=0))  # metal1
top.add(gdstk.FlexPath([(4.89,-11.89),(51.92,-11.89)], 2, ends="flush", simple_path=True, layer=34, datatype=0))  # metal1
top.add(gdstk.FlexPath([(10.9,-1.16),(10.9,1.81)], 0.28, ends="flush", simple_path=True, layer=34, datatype=0))  # metal1
top.add(gdstk.FlexPath([(10.96,-8.35),(10.96,-11.58)], 0.28, ends="flush", simple_path=True, layer=34, datatype=0))  # metal1
top.add(gdstk.FlexPath([(12.75,-8.37),(14.49,-8.37),(14.49,-8.37),(14.49,-8.37)], 0.28, ends="flush", simple_path=True, layer=34, datatype=0))  # metal1
top.add(gdstk.FlexPath([(12.86,-2.46),(14.36,-2.46)], 0.28, ends="flush", simple_path=True, layer=34, datatype=0))  # metal1
top.add(gdstk.FlexPath([(16.17,-3.18),(16.17,-8.36)], 0.28, ends="flush", simple_path=True, layer=34, datatype=0))  # metal1
top.add(gdstk.FlexPath([(17.83,-8.3),(17.83,-3.12)], 0.28, ends="flush", simple_path=True, layer=34, datatype=0))  # metal1
top.add(gdstk.FlexPath([(19.61,-2.42),(21.3,-2.42)], 0.28, ends="flush", simple_path=True, layer=34, datatype=0))  # metal1
top.add(gdstk.FlexPath([(19.59,-8.4),(21.2,-8.4)], 0.28, ends="flush", simple_path=True, layer=34, datatype=0))  # metal1
top.add(gdstk.FlexPath([(23.05,-1.2),(23.05,1.43)], 0.28, ends="flush", simple_path=True, layer=34, datatype=0))  # metal1
top.add(gdstk.FlexPath([(23,-8.38),(23,-11.4)], 0.28, ends="flush", simple_path=True, layer=34, datatype=0))  # metal1
top.add(gdstk.FlexPath([(23.85,-5.62),(16.17,-5.62)], 0.28, ends="flush", simple_path=True, layer=34, datatype=0))  # metal1
top.add(gdstk.FlexPath([(24.69,-8.43),(24.69,-11.4)], 0.28, ends="flush", simple_path=True, layer=34, datatype=0))  # metal1
top.add(gdstk.FlexPath([(26.5,-8.36),(28.12,-8.36)], 0.28, ends="flush", simple_path=True, layer=34, datatype=0))  # metal1
top.add(gdstk.FlexPath([(27.37,-8.33),(27.37,-4.78),(24.69,-4.78),(24.69,-3.16)], 0.28, ends="flush", simple_path=True, layer=34, datatype=0))  # metal1
top.add(gdstk.FlexPath([(26.44,-2.18),(28.11,-2.18)], 0.28, ends="flush", simple_path=True, layer=34, datatype=0))  # metal1
top.add(gdstk.FlexPath([(29.88,-1.2),(29.88,1.51)], 0.28, ends="flush", simple_path=True, layer=34, datatype=0))  # metal1
top.add(gdstk.FlexPath([(29.93,-8.39),(29.93,-11.5)], 0.28, ends="flush", simple_path=True, layer=34, datatype=0))  # metal1
top.add(gdstk.FlexPath([(31.56,-1.16),(31.56,1.81)], 0.28, ends="flush", simple_path=True, layer=34, datatype=0))  # metal1
top.add(gdstk.FlexPath([(31.62,-8.35),(31.62,-11.58)], 0.28, ends="flush", simple_path=True, layer=34, datatype=0))  # metal1
top.add(gdstk.FlexPath([(33.41,-8.37),(35.15,-8.37),(35.15,-8.37),(35.15,-8.37)], 0.28, ends="flush", simple_path=True, layer=34, datatype=0))  # metal1
top.add(gdstk.FlexPath([(33.52,-2.46),(35.02,-2.46)], 0.28, ends="flush", simple_path=True, layer=34, datatype=0))  # metal1
top.add(gdstk.FlexPath([(36.83,-3.18),(36.83,-8.36)], 0.28, ends="flush", simple_path=True, layer=34, datatype=0))  # metal1
top.add(gdstk.FlexPath([(38.49,-8.3),(38.49,-3.12)], 0.28, ends="flush", simple_path=True, layer=34, datatype=0))  # metal1
top.add(gdstk.FlexPath([(40.27,-2.42),(41.96,-2.42)], 0.28, ends="flush", simple_path=True, layer=34, datatype=0))  # metal1
top.add(gdstk.FlexPath([(40.25,-8.4),(41.86,-8.4)], 0.28, ends="flush", simple_path=True, layer=34, datatype=0))  # metal1
top.add(gdstk.FlexPath([(43.71,-1.2),(43.71,1.43)], 0.28, ends="flush", simple_path=True, layer=34, datatype=0))  # metal1
top.add(gdstk.FlexPath([(43.66,-8.38),(43.66,-11.4)], 0.28, ends="flush", simple_path=True, layer=34, datatype=0))  # metal1
top.add(gdstk.FlexPath([(44.51,-5.62),(36.83,-5.62)], 0.28, ends="flush", simple_path=True, layer=34, datatype=0))  # metal1
top.add(gdstk.FlexPath([(45.35,-8.43),(45.35,-11.4)], 0.28, ends="flush", simple_path=True, layer=34, datatype=0))  # metal1
top.add(gdstk.FlexPath([(47.16,-8.36),(48.78,-8.36)], 0.28, ends="flush", simple_path=True, layer=34, datatype=0))  # metal1
top.add(gdstk.FlexPath([(48.03,-8.33),(48.03,-4.78),(45.35,-4.78),(45.35,-3.16)], 0.28, ends="flush", simple_path=True, layer=34, datatype=0))  # metal1
top.add(gdstk.FlexPath([(47.1,-2.18),(48.77,-2.18)], 0.28, ends="flush", simple_path=True, layer=34, datatype=0))  # metal1
top.add(gdstk.FlexPath([(50.54,-1.2),(50.54,1.51)], 0.28, ends="flush", simple_path=True, layer=34, datatype=0))  # metal1
top.add(gdstk.FlexPath([(50.59,-8.39),(50.59,-11.5)], 0.28, ends="flush", simple_path=True, layer=34, datatype=0))  # metal1
top.add(gdstk.FlexPath([(0.79,-5.7),(3.82,-5.7)], 0.28, ends="flush", simple_path=True, layer=34, datatype=0))  # metal1
top.add(gdstk.FlexPath([(5,-5.68),(8.1,-5.68)], 0.28, ends="flush", simple_path=True, layer=34, datatype=0))  # metal1
top.add(gdstk.FlexPath([(27.04,-4.78),(32.48,-4.78)], 0.28, ends="flush", simple_path=True, layer=34, datatype=0))  # metal1
top.add(gdstk.FlexPath([(54.29,-5.7),(57.47,-5.7),(57.47,-5.58),(57.47,-5.58)], 0.28, ends="flush", simple_path=True, layer=34, datatype=0))  # metal1
top.add(gdstk.FlexPath([(47.93,-4.78),(53.08,-4.78)], 0.28, ends="flush", simple_path=True, layer=34, datatype=0))  # metal1
top.add(gdstk.FlexPath([(-7.06,2.16),(7.67,2.16)], 2, ends="flush", simple_path=True, layer=34, datatype=0))  # metal1
top.add(gdstk.FlexPath([(-7.06,-11.89),(7.67,-11.89)], 2, ends="flush", simple_path=True, layer=34, datatype=0))  # metal1
top.add(gdstk.FlexPath([(-1.21,-8.15),(-1.21,-11.06)], 0.8, ends="flush", simple_path=True, layer=34, datatype=0))  # metal1
top.add(gdstk.FlexPath([(-1.23,-3.45),(-1.23,1.57)], 0.8, ends="flush", simple_path=True, layer=34, datatype=0))  # metal1
top.add(gdstk.FlexPath([(0.93,-0.89),(0.93,-8.59)], 0.8, ends="flush", simple_path=True, layer=34, datatype=0))  # metal1
top.add(gdstk.FlexPath([(-0.24,-7.6),(-0.24,-3.97)], 0.6, ends="flush", simple_path=True, layer=34, datatype=0))  # metal1
top.add(gdstk.FlexPath([(-2.93,2.16),(11.8,2.16)], 2, ends="flush", simple_path=True, layer=34, datatype=0))  # metal1
top.add(gdstk.FlexPath([(-2.93,-11.89),(11.8,-11.89)], 2, ends="flush", simple_path=True, layer=34, datatype=0))  # metal1
top.add(gdstk.FlexPath([(2.92,-8.15),(2.92,-11.06)], 0.8, ends="flush", simple_path=True, layer=34, datatype=0))  # metal1
top.add(gdstk.FlexPath([(2.9,-3.45),(2.9,1.57)], 0.8, ends="flush", simple_path=True, layer=34, datatype=0))  # metal1
top.add(gdstk.FlexPath([(5.06,-0.89),(5.06,-8.59)], 0.8, ends="flush", simple_path=True, layer=34, datatype=0))  # metal1
top.add(gdstk.FlexPath([(3.89,-7.6),(3.89,-3.97)], 0.6, ends="flush", simple_path=True, layer=34, datatype=0))  # metal1
top.add(gdstk.FlexPath([(1.24,2.16),(15.97,2.16)], 2, ends="flush", simple_path=True, layer=34, datatype=0))  # metal1
top.add(gdstk.FlexPath([(1.24,-11.89),(15.97,-11.89)], 2, ends="flush", simple_path=True, layer=34, datatype=0))  # metal1
top.add(gdstk.FlexPath([(7.09,-8.15),(7.09,-11.06)], 0.8, ends="flush", simple_path=True, layer=34, datatype=0))  # metal1
top.add(gdstk.FlexPath([(7.07,-3.45),(7.07,1.57)], 0.8, ends="flush", simple_path=True, layer=34, datatype=0))  # metal1
top.add(gdstk.FlexPath([(9.23,-0.89),(9.23,-8.59)], 0.8, ends="flush", simple_path=True, layer=34, datatype=0))  # metal1
top.add(gdstk.FlexPath([(8.06,-7.6),(8.06,-3.97)], 0.6, ends="flush", simple_path=True, layer=34, datatype=0))  # metal1
top.add(gdstk.FlexPath([(46.23,2.16),(60.96,2.16)], 2, ends="flush", simple_path=True, layer=34, datatype=0))  # metal1
top.add(gdstk.FlexPath([(46.23,-11.89),(60.96,-11.89)], 2, ends="flush", simple_path=True, layer=34, datatype=0))  # metal1
top.add(gdstk.FlexPath([(52.08,-8.15),(52.08,-11.06)], 0.8, ends="flush", simple_path=True, layer=34, datatype=0))  # metal1
top.add(gdstk.FlexPath([(52.06,-3.45),(52.06,1.57)], 0.8, ends="flush", simple_path=True, layer=34, datatype=0))  # metal1
top.add(gdstk.FlexPath([(54.22,-0.89),(54.22,-8.59)], 0.8, ends="flush", simple_path=True, layer=34, datatype=0))  # metal1
top.add(gdstk.FlexPath([(53.05,-7.6),(53.05,-3.97)], 0.6, ends="flush", simple_path=True, layer=34, datatype=0))  # metal1
top.add(gdstk.FlexPath([(50.63,2.16),(65.36,2.16)], 2, ends="flush", simple_path=True, layer=34, datatype=0))  # metal1
top.add(gdstk.FlexPath([(50.63,-11.89),(65.36,-11.89)], 2, ends="flush", simple_path=True, layer=34, datatype=0))  # metal1
top.add(gdstk.FlexPath([(56.48,-8.15),(56.48,-11.06)], 0.8, ends="flush", simple_path=True, layer=34, datatype=0))  # metal1
top.add(gdstk.FlexPath([(56.46,-3.45),(56.46,1.57)], 0.8, ends="flush", simple_path=True, layer=34, datatype=0))  # metal1
top.add(gdstk.FlexPath([(58.62,-0.89),(58.62,-8.59)], 0.8, ends="flush", simple_path=True, layer=34, datatype=0))  # metal1
top.add(gdstk.FlexPath([(57.45,-7.6),(57.45,-3.97)], 0.6, ends="flush", simple_path=True, layer=34, datatype=0))  # metal1
top.add(gdstk.FlexPath([(18.64,-4.22),(18.64,-4.69),(15.27,-4.69),(15.27,-9.47)], 0.28, ends="flush", simple_path=True, layer=42, datatype=0))  # metal3
top.add(gdstk.FlexPath([(39.3,-4.22),(39.3,-4.69),(35.93,-4.69),(35.93,-7.5)], 0.28, ends="flush", simple_path=True, layer=42, datatype=0))  # metal3
top.add(gdstk.FlexPath([(9.16,-5.64),(9.16,-9.47),(37.79,-9.47)], 0.28, ends="flush", simple_path=True, layer=42, datatype=0))  # metal3
top.add(gdstk.FlexPath([(37.65,-7.42),(37.65,-9.57)], 0.28, ends="flush", simple_path=True, layer=42, datatype=0))  # metal3
top.add(gdstk.FlexPath([(23.91,-5.6),(29.05,-5.6),(29.05,-7.39)], 0.28, ends="flush", simple_path=True, layer=36, datatype=0))  # metal2
top.add(gdstk.FlexPath([(15.3,-0.41),(16.96,-0.41),(16.96,-7.37),(18.72,-7.37)], 0.28, ends="flush", simple_path=True, layer=36, datatype=0))  # metal2
top.add(gdstk.FlexPath([(22.15,-7.38),(27.32,-7.38)], 0.28, ends="flush", simple_path=True, layer=36, datatype=0))  # metal2
top.add(gdstk.FlexPath([(44.57,-5.6),(49.71,-5.6),(49.71,-7.39)], 0.28, ends="flush", simple_path=True, layer=36, datatype=0))  # metal2
top.add(gdstk.FlexPath([(35.96,-0.33),(37.62,-0.33),(37.62,-7.37),(39.38,-7.37)], 0.28, ends="flush", simple_path=True, layer=36, datatype=0))  # metal2
top.add(gdstk.FlexPath([(42.81,-7.38),(47.98,-7.38)], 0.28, ends="flush", simple_path=True, layer=36, datatype=0))  # metal2
top.add(gdstk.FlexPath([(46.25,-0.45),(46.25,0.44),(25.6,0.44),(25.6,-0.32),(25.6,-0.31)], 0.28, ends="flush", simple_path=True, layer=36, datatype=0))  # metal2
top.add(gdstk.FlexPath([(35.91,-7.38),(35.91,-10.26),(6.4,-10.26),(6.4,-5.67),(5.1,-5.67)], 0.28, ends="flush", simple_path=True, layer=36, datatype=0))  # metal2
top.add(gdstk.FlexPath([(16.96,-7.35),(16.96,-10.23)], 0.28, ends="flush", simple_path=True, layer=36, datatype=0))  # metal2
top.add(gdstk.Label('Q', (58.64,-5.84), layer=34, texttype=10))
top.add(gdstk.Label('clk', (-0.34,-5.77), layer=34, texttype=10))
top.add(gdstk.Label('vdd', (0.26,1.84), layer=34, texttype=10))
top.add(gdstk.Label('vss', (-1.22,-12.26), layer=34, texttype=10))
top.add(gdstk.Label('vdd', (4.39,1.84), layer=34, texttype=10))
top.add(gdstk.Label('vss', (2.91,-12.26), layer=34, texttype=10))
top.add(gdstk.Label('vdd', (8.56,1.84), layer=34, texttype=10))
top.add(gdstk.Label('vss', (7.08,-12.26), layer=34, texttype=10))
top.add(gdstk.Label('vdd', (53.55,1.84), layer=34, texttype=10))
top.add(gdstk.Label('vss', (52.07,-12.26), layer=34, texttype=10))
top.add(gdstk.Label('vdd', (57.95,1.84), layer=34, texttype=10))
top.add(gdstk.Label('vss', (56.47,-12.26), layer=34, texttype=10))
top.add(gdstk.Label('& Vendor GLOBALFOUNDRIES', (33.72,-2.68), layer=63, texttype=63))
top.add(gdstk.Label('& Product GF018hv5v_mcu_sc7', (33.72,-3.18), layer=63, texttype=63))
top.add(gdstk.Label('& Version 2015q2v1', (33.72,-3.68), layer=63, texttype=63))
top.add(gdstk.Label('& Metric 1.00', (33.72,-4.18), layer=63, texttype=63))
top.add(gdstk.Label('& Vendor GLOBALFOUNDRIES', (4.41,-2.68), layer=63, texttype=63))
top.add(gdstk.Label('& Product GF018hv5v_mcu_sc7', (4.41,-3.18), layer=63, texttype=63))
top.add(gdstk.Label('& Version 2015q2v1', (4.41,-3.68), layer=63, texttype=63))
top.add(gdstk.Label('& Metric 1.00', (4.41,-4.18), layer=63, texttype=63))
top.add(gdstk.Label('& Vendor GLOBALFOUNDRIES', (8.54,-2.68), layer=63, texttype=63))
top.add(gdstk.Label('& Product GF018hv5v_mcu_sc7', (8.54,-3.18), layer=63, texttype=63))
top.add(gdstk.Label('& Version 2015q2v1', (8.54,-3.68), layer=63, texttype=63))
top.add(gdstk.Label('& Metric 1.00', (8.54,-4.18), layer=63, texttype=63))
top.add(gdstk.Label('& Vendor GLOBALFOUNDRIES', (12.71,-2.68), layer=63, texttype=63))
top.add(gdstk.Label('& Product GF018hv5v_mcu_sc7', (12.71,-3.18), layer=63, texttype=63))
top.add(gdstk.Label('& Version 2015q2v1', (12.71,-3.68), layer=63, texttype=63))
top.add(gdstk.Label('& Metric 1.00', (12.71,-4.18), layer=63, texttype=63))
top.add(gdstk.Label('& Vendor GLOBALFOUNDRIES', (57.7,-2.68), layer=63, texttype=63))
top.add(gdstk.Label('& Product GF018hv5v_mcu_sc7', (57.7,-3.18), layer=63, texttype=63))
top.add(gdstk.Label('& Version 2015q2v1', (57.7,-3.68), layer=63, texttype=63))
top.add(gdstk.Label('& Metric 1.00', (57.7,-4.18), layer=63, texttype=63))
top.add(gdstk.Label('& Vendor GLOBALFOUNDRIES', (62.1,-2.68), layer=63, texttype=63))
top.add(gdstk.Label('& Product GF018hv5v_mcu_sc7', (62.1,-3.18), layer=63, texttype=63))
top.add(gdstk.Label('& Version 2015q2v1', (62.1,-3.68), layer=63, texttype=63))
top.add(gdstk.Label('& Metric 1.00', (62.1,-4.18), layer=63, texttype=63))
top.add(gdstk.Label('R', (25.67,-0.07), layer=36, texttype=10))
top.add(gdstk.Label('D', (12,-0.38), layer=36, texttype=10))

lib.write_gds('TOP.gds')
